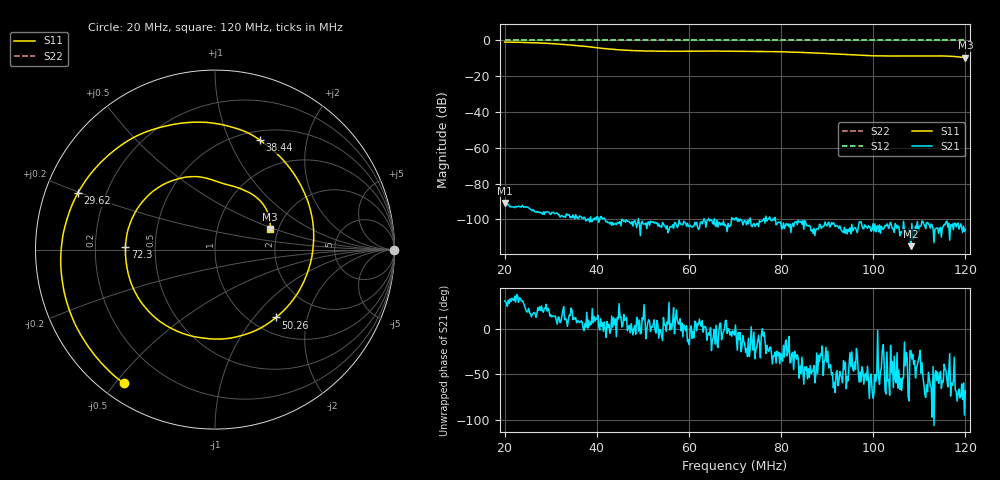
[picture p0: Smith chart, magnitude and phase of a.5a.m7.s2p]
! Anritsu VNA Master:  Model: MS2036C/10/77
! SN:  1601066
! /bd0/18may8/255.ew.m7.s2p
! Existing Calibration Information:
! TYPE:  Current Settings,  Active Cal Settings
! TIME:  05/08/2018 10:26:30 AM,  05/08/2018 10:22:10 AM
! INTERNAL TEMP:  47.8 C,  47.5 C
! # POINTS:  500,  500
! START FREQ:  20.000 MHz,  20.000 MHz
! STOP FREQ:  120.000 MHz,  120.000 MHz
! SOURCE POWER:  High,  High
! IFBW:  50 Hz,  50 Hz
! AVG FACTOR:  1 ,  1
! REF PLANE 1:  0 mm,  0 mm
! REF PLANE 2:  0 mm,  0 mm
! CAL TYPE:  Full S11,  Full S11
! CAL METHOD:  SOLT,  SOLT
! CAL LINE TYPE:  Coax,  Coax
! DUT PORT 1:  K-Conn(F),  K-Conn(F)
! DUT PORT 2:  K-Conn(F),  K-Conn(F)
! CAL STATUS:  OK: Accuracy High,  --
# GHZ S DB R 50.0
! FREQ.GHZ  S11DB  S11A  S21DB  S21A  S12DB  S12A  S22DB  S22A
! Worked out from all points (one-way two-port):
!   500 points, 20 MHz to 120 MHz, reference 50 ohm
!   highest |S21| = -90.94 dB at 20 MHz (marker M1); lowest = -115.0 dB at 108.2 MHz (marker M2)
!   lowest |S11| = -9.7 dB at 120 MHz (marker M3), VSWR 1.98, Z = 90.5 + j23.3 ohm
!   |S11| at or under -10 dB: nowhere
!   |S22| runs from 0.0 to 0.0 dB; largest |S21 - S12| = 1
!   S11 on the Smith chart (normalised r, x): 20 MHz: 0.07, -0.53; 29.62 MHz: 0.10, +0.20; 38.44 MHz: 0.60, +1.30; 50.26 MHz: 1.28, -1.31; 72.3 MHz: 0.33, +0.01; 120 MHz: 1.81, +0.47
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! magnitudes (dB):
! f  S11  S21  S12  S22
! 20 MHz  -0.9  -90.9  0.0  0.0
! 26.21 MHz  -1.3  -94.5  0.0  0.0
! 29.62 MHz  -1.7  -96.0  0.0  0.0
! 32.83 MHz  -2.2  -98.7  0.0  0.0
! 36.83 MHz  -3.2  -99.5  0.0  0.0
! 38.44 MHz  -3.6  -101.6  0.0  0.0
! 41.44 MHz  -4.5  -99.6  0.0  0.0
! 44.65 MHz  -5.2  -101.7  0.0  0.0
! 47.05 MHz  -5.6  -101.3  0.0  0.0
! 50.26 MHz  -5.9  -102.5  0.0  0.0
! 53.47 MHz  -6.0  -102.5  0.0  0.0
! 70.1 MHz  -6.0  -99.4  0.0  0.0
! 72.3 MHz  -6.0  -101.4  0.0  0.0
! 78.72 MHz  -6.2  -98.9  0.0  0.0
! 86.73 MHz  -6.9  -105.7  0.0  0.0
! 97.76 MHz  -8.4  -105.2  0.0  0.0
! 103.4 MHz  -8.7  -105.2  0.0  0.0
! 108.2 MHz  -8.7  -115.0  0.0  0.0
! 112.8 MHz  -8.6  -103.3  0.0  0.0
! 115.4 MHz  -8.7  -102.9  0.0  0.0
! 117.6 MHz  -9.0  -102.1  0.0  0.0
! 120 MHz  -9.7  -105.7  0.0  0.0
